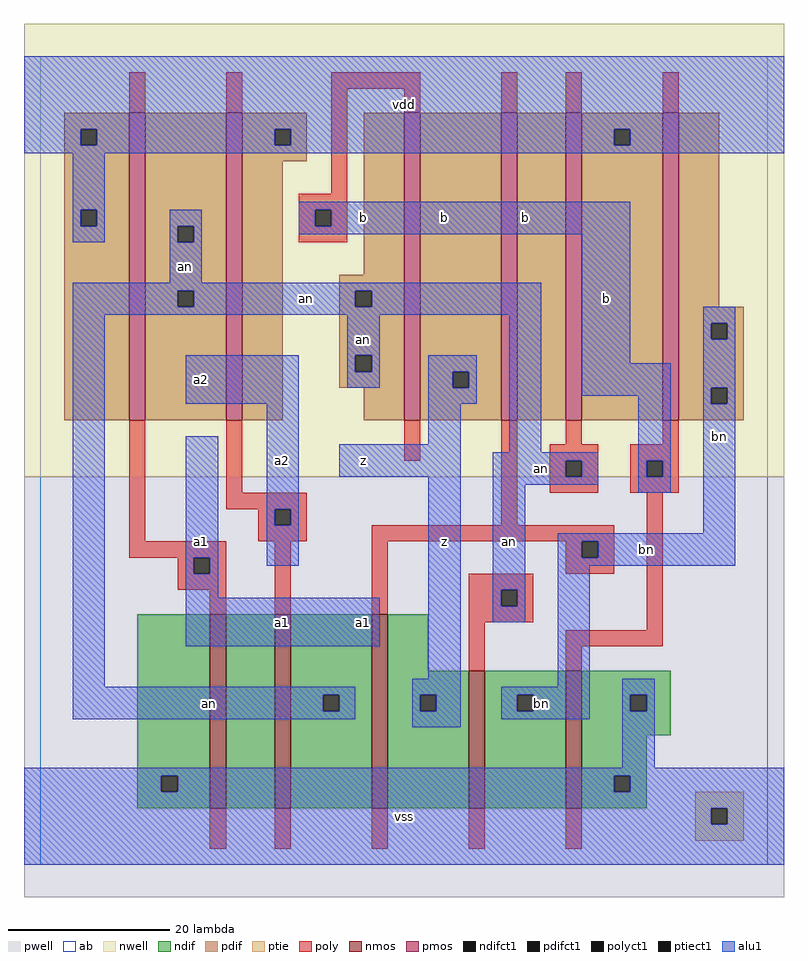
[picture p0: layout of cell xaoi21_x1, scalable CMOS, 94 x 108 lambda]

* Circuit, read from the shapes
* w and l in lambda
.subckt xaoi21_x1 a1 a2 an b bn vdd vss z
M1 n1 a1 vss vss nfet w=24 l=2
M2 an a2 n1 vss nfet w=24 l=2
M3 z bn an vss nfet w=24 l=2
M4 bn an z vss nfet w=17 l=2
M5 vss b bn vss nfet w=17 l=2
M6 an a1 vdd n2 pfet w=38 l=2
M7 vdd a2 an n2 pfet w=38 l=2
M8 z b an n2 pfet w=38 l=2
M9 n3 bn z n2 pfet w=38 l=2
M10 vdd an n3 n2 pfet w=38 l=2
M11 bn b vdd n2 pfet w=38 l=2
.ends

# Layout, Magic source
magic
tech scmos
<< ab >>
rect 0 0 90 100
<< nwell >>
rect -2 48 92 104
<< pwell >>
rect -2 -4 92 48
<< poly >>
rect 11 93 13 98
rect 23 93 25 98
rect 36 96 47 98
rect 36 83 38 96
rect 45 93 47 96
rect 57 93 59 98
rect 65 93 67 98
rect 77 93 79 98
rect 32 81 38 83
rect 32 79 34 81
rect 36 79 38 81
rect 32 77 38 79
rect 11 40 13 55
rect 23 46 25 55
rect 45 50 47 55
rect 23 44 33 46
rect 27 42 29 44
rect 31 42 33 44
rect 57 42 59 55
rect 65 52 67 55
rect 77 52 79 55
rect 63 50 69 52
rect 63 48 65 50
rect 67 48 69 50
rect 63 46 69 48
rect 73 50 79 52
rect 73 48 75 50
rect 77 48 79 50
rect 73 46 79 48
rect 27 40 33 42
rect 41 40 71 42
rect 11 38 23 40
rect 17 36 19 38
rect 21 36 23 38
rect 17 34 23 36
rect 21 31 23 34
rect 29 31 31 40
rect 41 31 43 40
rect 65 38 67 40
rect 69 38 71 40
rect 65 36 71 38
rect 53 34 61 36
rect 53 32 57 34
rect 59 32 61 34
rect 53 30 61 32
rect 53 24 55 30
rect 75 29 77 46
rect 65 27 77 29
rect 65 24 67 27
rect 21 2 23 7
rect 29 2 31 7
rect 41 2 43 7
rect 53 2 55 7
rect 65 2 67 7
<< ndif >>
rect 12 11 21 31
rect 12 9 15 11
rect 17 9 21 11
rect 12 7 21 9
rect 23 7 29 31
rect 31 21 41 31
rect 31 19 35 21
rect 37 19 41 21
rect 31 7 41 19
rect 43 24 48 31
rect 43 21 53 24
rect 43 19 47 21
rect 49 19 53 21
rect 43 7 53 19
rect 55 21 65 24
rect 55 19 59 21
rect 61 19 65 21
rect 55 7 65 19
rect 67 21 78 24
rect 67 19 73 21
rect 75 19 78 21
rect 67 16 78 19
rect 67 11 75 16
rect 67 9 71 11
rect 73 9 75 11
rect 67 7 75 9
<< pdif >>
rect 3 91 11 93
rect 3 89 5 91
rect 7 89 11 91
rect 3 81 11 89
rect 3 79 5 81
rect 7 79 11 81
rect 3 55 11 79
rect 13 79 23 93
rect 13 77 17 79
rect 19 77 23 79
rect 13 71 23 77
rect 13 69 17 71
rect 19 69 23 71
rect 13 55 23 69
rect 25 91 33 93
rect 25 89 29 91
rect 31 89 33 91
rect 25 87 33 89
rect 25 55 30 87
rect 40 73 45 93
rect 37 71 45 73
rect 37 69 39 71
rect 41 69 45 71
rect 37 63 45 69
rect 37 61 39 63
rect 41 61 45 63
rect 37 59 45 61
rect 40 55 45 59
rect 47 61 57 93
rect 47 59 51 61
rect 53 59 57 61
rect 47 55 57 59
rect 59 55 65 93
rect 67 91 77 93
rect 67 89 71 91
rect 73 89 77 91
rect 67 55 77 89
rect 79 69 84 93
rect 79 67 87 69
rect 79 65 83 67
rect 85 65 87 67
rect 79 59 87 65
rect 79 57 83 59
rect 85 57 87 59
rect 79 55 87 57
<< alu1 >>
rect -2 91 92 100
rect -2 89 5 91
rect 7 89 29 91
rect 31 89 71 91
rect 73 89 92 91
rect -2 88 92 89
rect 4 81 8 88
rect 32 81 73 82
rect 4 79 5 81
rect 7 79 8 81
rect 4 77 8 79
rect 16 79 20 81
rect 16 77 17 79
rect 19 77 20 79
rect 32 79 34 81
rect 36 79 73 81
rect 32 78 73 79
rect 16 72 20 77
rect 4 71 62 72
rect 4 69 17 71
rect 19 69 39 71
rect 41 69 62 71
rect 4 68 62 69
rect 4 22 8 68
rect 38 63 42 68
rect 18 57 32 63
rect 38 61 39 63
rect 41 61 42 63
rect 38 59 42 61
rect 48 61 54 63
rect 48 59 51 61
rect 53 59 54 61
rect 18 38 22 53
rect 18 36 19 38
rect 21 36 22 38
rect 28 44 32 57
rect 48 57 54 59
rect 48 52 52 57
rect 37 48 52 52
rect 58 51 62 68
rect 67 62 73 78
rect 82 67 86 69
rect 82 65 83 67
rect 85 65 86 67
rect 67 58 78 62
rect 28 42 29 44
rect 31 42 32 44
rect 28 37 32 42
rect 18 33 22 36
rect 18 27 42 33
rect 48 23 52 48
rect 56 50 69 51
rect 56 48 65 50
rect 67 48 69 50
rect 56 47 69 48
rect 74 50 78 58
rect 74 48 75 50
rect 77 48 78 50
rect 56 34 60 47
rect 74 46 78 48
rect 82 59 86 65
rect 82 57 83 59
rect 85 57 86 59
rect 82 41 86 57
rect 56 32 57 34
rect 59 32 60 34
rect 56 30 60 32
rect 64 40 86 41
rect 64 38 67 40
rect 69 38 86 40
rect 64 37 86 38
rect 4 21 39 22
rect 4 19 35 21
rect 37 19 39 21
rect 4 18 39 19
rect 46 21 52 23
rect 64 22 68 37
rect 46 19 47 21
rect 49 19 52 21
rect 46 17 52 19
rect 57 21 68 22
rect 57 19 59 21
rect 61 19 68 21
rect 57 18 68 19
rect 72 21 76 23
rect 72 19 73 21
rect 75 19 76 21
rect 72 12 76 19
rect -2 11 92 12
rect -2 9 15 11
rect 17 9 71 11
rect 73 9 92 11
rect -2 7 92 9
rect -2 5 83 7
rect 85 5 92 7
rect -2 0 92 5
<< ptie >>
rect 81 7 87 9
rect 81 5 83 7
rect 85 5 87 7
rect 81 3 87 5
<< nmos >>
rect 21 7 23 31
rect 29 7 31 31
rect 41 7 43 31
rect 53 7 55 24
rect 65 7 67 24
<< pmos >>
rect 11 55 13 93
rect 23 55 25 93
rect 45 55 47 93
rect 57 55 59 93
rect 65 55 67 93
rect 77 55 79 93
<< polyct1 >>
rect 34 79 36 81
rect 29 42 31 44
rect 65 48 67 50
rect 75 48 77 50
rect 19 36 21 38
rect 67 38 69 40
rect 57 32 59 34
<< ndifct1 >>
rect 15 9 17 11
rect 35 19 37 21
rect 47 19 49 21
rect 59 19 61 21
rect 73 19 75 21
rect 71 9 73 11
<< ptiect1 >>
rect 83 5 85 7
<< pdifct1 >>
rect 5 89 7 91
rect 5 79 7 81
rect 17 77 19 79
rect 17 69 19 71
rect 29 89 31 91
rect 39 69 41 71
rect 39 61 41 63
rect 51 59 53 61
rect 71 89 73 91
rect 83 65 85 67
rect 83 57 85 59
<< labels >>
rlabel alu1 30 30 30 30 6 a1
rlabel alu1 20 40 20 40 6 a1
rlabel alu1 30 50 30 50 6 a2
rlabel alu1 20 60 20 60 6 a2
rlabel alu1 18 74 18 74 6 an
rlabel alu1 45 6 45 6 6 vss
rlabel alu1 21 20 21 20 6 an
rlabel alu1 40 30 40 30 6 a1
rlabel alu1 50 40 50 40 6 z
rlabel alu1 40 50 40 50 6 z
rlabel alu1 40 65 40 65 6 an
rlabel alu1 40 80 40 80 6 b
rlabel alu1 50 80 50 80 6 b
rlabel alu1 45 94 45 94 6 vdd
rlabel alu1 62 20 62 20 6 bn
rlabel alu1 58 40 58 40 6 an
rlabel alu1 62 49 62 49 6 an
rlabel alu1 33 70 33 70 6 an
rlabel alu1 70 70 70 70 6 b
rlabel alu1 60 80 60 80 6 b
rlabel alu1 75 39 75 39 6 bn
rlabel alu1 84 53 84 53 6 bn
<< end >>
